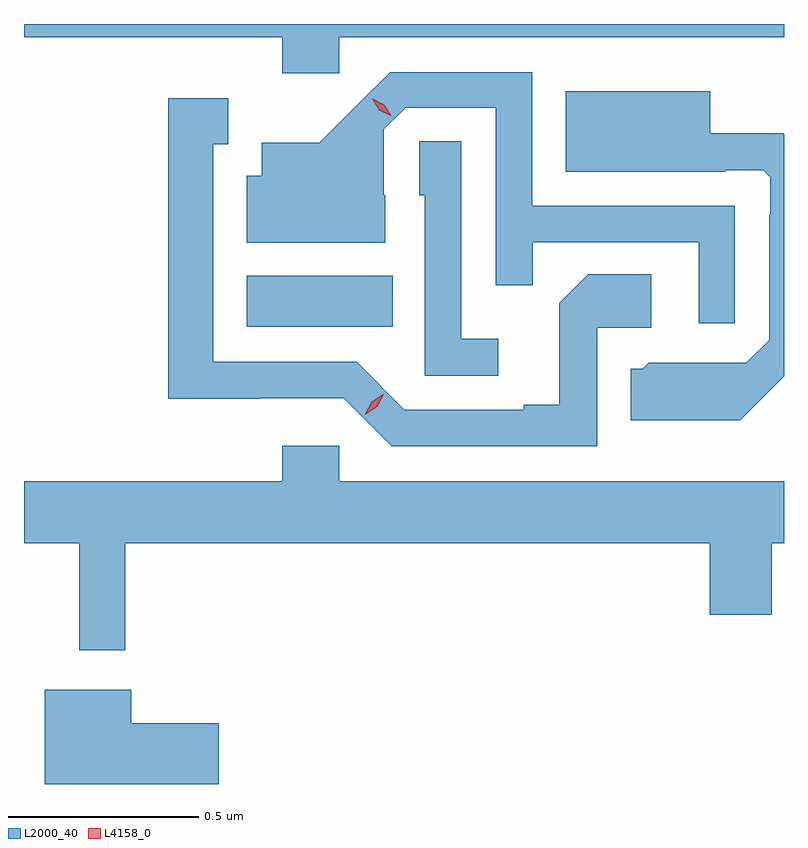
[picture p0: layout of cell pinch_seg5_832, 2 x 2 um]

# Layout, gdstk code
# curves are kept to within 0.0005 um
import gdstk
lib = gdstk.Library(unit=1e-6, precision=1e-09)
def R(c, l, rs):  # rectangles x0, y0, x1, y1
    for r in rs: c.add(gdstk.rectangle(r[:2], r[2:], *l))
def P(c, l, *ps):  # polygons
    for p in ps: c.add(gdstk.Polygon(p, *l))
L2000_40 = (2000, 40)
L4158_0 = (4158, 0)

pinch_seg5_832 = lib.new_cell('pinch_seg5_832')
R(pinch_seg5_832, L2000_40, [(763.19,881.306,763.574,881.44)])
P(pinch_seg5_832, L2000_40, [(763.434,882.068),(764.604,882.068),(764.604,882.103),(762.604,882.103),(762.604,882.068),(763.283,882.068),(763.283,881.973),(763.434,881.973)],
  [(764.475,881.625),(763.941,881.625),(763.941,881.976),(763.568,881.976),(763.381,881.791),(763.229,881.791),(763.229,881.704),(763.19,881.704),(763.19,881.528),(763.555,881.528),(763.555,881.652),(763.551,881.652),(763.551,881.826),(763.608,881.883),(763.845,881.883),(763.845,881.416),(763.943,881.416),(763.943,881.529),(764.379,881.529),(764.379,881.316),(764.475,881.316)],
  [(764.569,881.141),(764.604,881.176),(764.604,881.813),(764.602,881.815),(764.41,881.815),(764.41,881.926),(764.03,881.926),(764.03,881.714),(764.45,881.714),(764.45,881.718),(764.55,881.718),(764.568,881.7),(764.568,881.6),(764.565,881.6),(764.565,881.271),(764.505,881.211),(764.382,881.211),(764.382,881.212),(764.248,881.212),(764.232,881.196),(764.201,881.196),(764.201,881.06),(764.489,881.06)],
  [(764.112,881.304),(764.254,881.304),(764.254,881.444),(764.089,881.444),(764.013,881.368),(764.013,881.101),(763.919,881.101),(763.919,881.088),(763.605,881.088),(763.479,881.214),(763.102,881.214),(763.102,881.787),(763.141,881.787),(763.141,881.908),(762.984,881.908),(762.984,881.117),(763.224,881.117),(763.224,881.118),(763.446,881.118),(763.572,880.992),(764.112,880.992)],
  [(763.852,881.275),(763.755,881.275),(763.755,881.795),(763.644,881.795),(763.644,881.652),(763.659,881.652),(763.659,881.178),(763.852,881.178)],
  [(762.871,880.736),(764.408,880.736),(764.408,880.548),(764.572,880.548),(764.572,880.736),(764.604,880.736),(764.604,880.9),(763.434,880.9),(763.434,880.993),(763.283,880.993),(763.283,880.9),(762.604,880.9),(762.604,880.736),(762.749,880.736),(762.749,880.455),(762.871,880.455)],
  [(763.117,880.263),(762.886,880.263),(762.886,880.351),(762.659,880.351),(762.659,880.103),(763.117,880.103)])
P(pinch_seg5_832, L4158_0, [(763.569,881.861),(763.539,881.876),(763.521,881.906),(763.521,881.906),(763.522,881.906),(763.552,881.891),(763.57,881.861),(763.57,881.861)],
  [(763.502,881.076),(763.502,881.077),(763.519,881.109),(763.55,881.129),(763.551,881.129),(763.551,881.129),(763.534,881.096),(763.503,881.076)])

lib.write_gds('pinch_seg5_832.gds')
